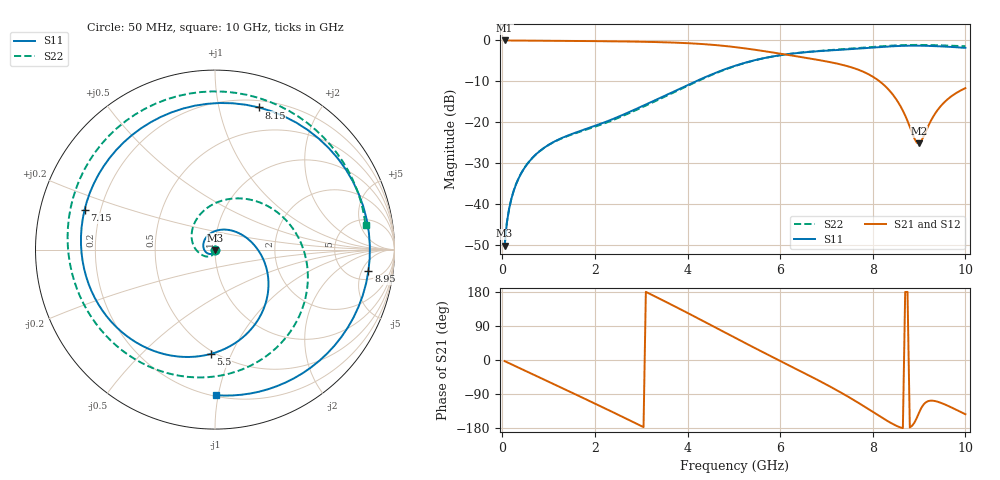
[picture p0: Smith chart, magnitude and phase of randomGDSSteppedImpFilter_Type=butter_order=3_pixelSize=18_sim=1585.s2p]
! freq	dB(S11)	phase(S11)	dB(S12)	phase(S12)
!  dB(S21)	phase(S21)	dB(S22)	phase(S22)
!S-par simulation data
#  GHz  S  DB  R 50
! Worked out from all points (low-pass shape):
!   200 points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, 50 MHz to 10 GHz, reference 50 ohm
!   highest |S21| = 0.00 dB at 50 MHz (marker M1); lowest = -25.2 dB at 9 GHz (marker M2)
!   |S21| within 3 dB of the highest: start of sweep to 5.874 GHz
!   lowest |S11| = -50.2 dB at 50 MHz (marker M3), VSWR 1.01, Z = 50 - j0.307 ohm
!   |S11| at or under -10 dB: start of sweep to 4.178 GHz
!   |S22| runs from -50.3 to -1.1 dB; largest |S21 - S12| = 0
!   S11 on the Smith chart (normalised r, x): 50 MHz: 1.00, -0.01; 5.5 GHz: 0.48, -0.84; 7.15 GHz: 0.14, +0.15; 8.15 GHz: 0.26, +1.32; 8.95 GHz: 7.14, -6.76; 10 GHz: 0.21, -0.99
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0.05  -50.23 -84.7  -0.00 -2.9  -0.00 -2.9  -50.34 -83.1
0.1  -44.49 -92.7  -0.01 -5.8  -0.01 -5.8  -44.47 -89.9
0.2  -38.58 -102.6  -0.02 -11.5  -0.02 -11.5  -38.52 -96.8
0.5  -30.86 -126.4  -0.05 -28.7  -0.05 -28.7  -30.82 -111.5
1.15  -24.59 -176.4  -0.09 -65.9  -0.09 -65.9  -24.66 -138.0
1.75  -21.89 133.9  -0.14 -100.5  -0.14 -100.5  -22.07 -158.1
2.65  -17.98 61.9  -0.25 -153.2  -0.25 -153.2  -18.26 168.9
3.4  -14.10 15.9  -0.42 161.6  -0.42 161.6  -14.35 124.8
4.25  -9.64 -26.5  -0.83 108.4  -0.83 108.4  -9.80 61.4
5.05  -6.11 -67.6  -1.66 57.2  -1.66 57.2  -6.18 0.8
5.5  -4.70 -92.4  -2.35 28.7  -2.35 28.7  -4.74 -31.1
6.1  -3.45 -127.1  -3.41 -8.6  -3.41 -8.6  -3.45 -70.9
6.7  -2.74 -164.8  -4.53 -45.7  -4.53 -45.7  -2.69 -108.2
7.15  -2.39 163.1  -5.47 -74.9  -5.47 -74.9  -2.30 -135.7
7.75  -1.96 112.3  -7.44 -117.6  -7.44 -117.6  -1.81 -174.5
8.15  -1.63 72.9  -10.03 -148.3  -10.03 -148.3  -1.46 156.6
8.35  -1.48 52.2  -12.13 -163.2  -12.13 -163.2  -1.31 141.0
8.65  -1.32 21.3  -17.19 -179.8  -17.19 -179.8  -1.15 116.4
8.95  -1.28 -8.0  -25.01 -153.1  -25.01 -153.1  -1.10 91.1
9  -1.28 -12.7  -25.22 -138.9  -25.22 -138.9  -1.10 86.8
9.5  -1.47 -54.6  -15.66 -114.4  -15.66 -114.4  -1.21 45.9
10  -1.82 -89.4  -11.67 -143.2  -11.67 -143.2  -1.42 9.2
